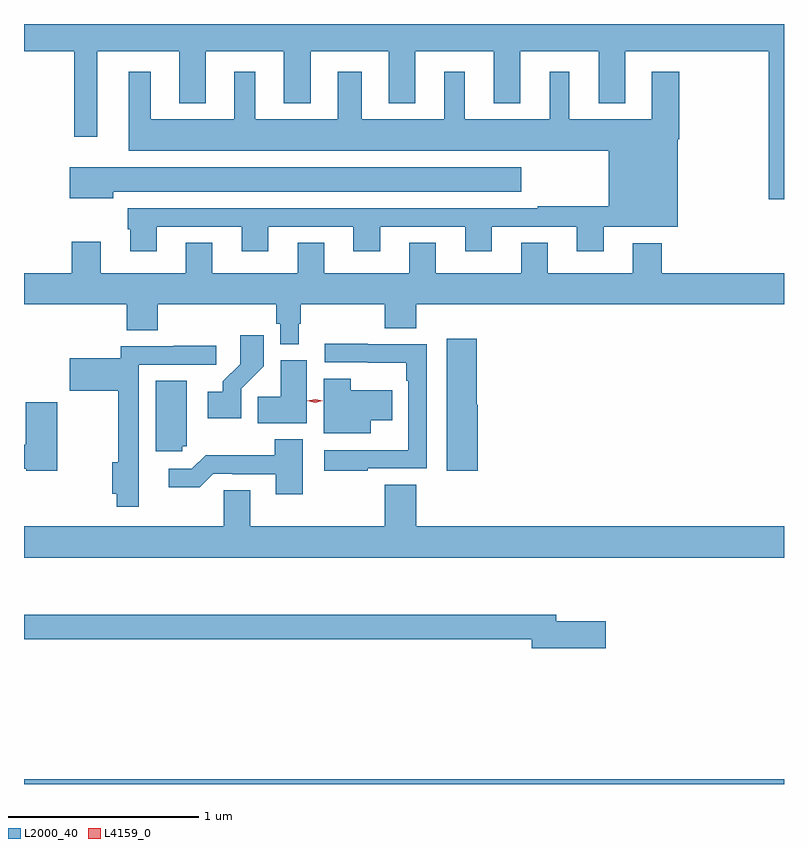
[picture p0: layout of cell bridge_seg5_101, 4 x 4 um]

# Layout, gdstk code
import gdstk
lib = gdstk.Library(unit=1e-6, precision=1e-09)
def R(c, l, rs):  # rectangles x0, y0, x1, y1
    for r in rs: c.add(gdstk.rectangle(r[:2], r[2:], *l))
def P(c, l, *ps):  # polygons
    for p in ps: c.add(gdstk.Polygon(p, *l))
L2000_40 = (2000, 40)
L4159_0 = (4159, 0)

bridge_seg5_101 = lib.new_cell('bridge_seg5_101')
R(bridge_seg5_101, L2000_40, [(540.293,907.516,544.293,907.54)])
P(bridge_seg5_101, L2000_40, [(540.293,911.372),(540.558,911.372),(540.558,910.923),(540.679,910.923),(540.679,911.372),(541.109,911.372),(541.109,911.099),(541.249,911.099),(541.249,911.372),(541.661,911.372),(541.661,911.099),(541.801,911.099),(541.801,911.372),(542.213,911.372),(542.213,911.099),(542.353,911.099),(542.353,911.372),(542.765,911.372),(542.765,911.099),(542.905,911.099),(542.905,911.372),(543.317,911.372),(543.317,911.099),(543.457,911.099),(543.457,911.372),(544.213,911.372),(544.213,910.593),(544.293,910.593),(544.293,911.516),(540.293,911.516)],
  [(540.991,910.449),(541.439,910.449),(541.439,910.32),(541.579,910.32),(541.579,910.449),(542.027,910.449),(542.027,910.32),(542.167,910.32),(542.167,910.449),(542.615,910.449),(542.615,910.32),(542.755,910.32),(542.755,910.449),(543.203,910.449),(543.203,910.32),(543.343,910.32),(543.343,910.448),(543.733,910.448),(543.733,910.91),(543.741,910.91),(543.741,911.266),(543.596,911.266),(543.596,911.014),(543.163,911.014),(543.163,911.266),(543.059,911.266),(543.059,911.014),(542.614,911.014),(542.614,911.266),(542.504,911.266),(542.504,911.014),(542.071,911.014),(542.071,911.266),(541.943,911.266),(541.943,911.014),(541.51,911.014),(541.51,911.266),(541.4,911.266),(541.4,911.014),(540.961,911.014),(540.961,911.266),(540.845,911.266),(540.845,910.85),(543.371,910.85),(543.371,910.558),(542.998,910.558),(542.998,910.545),(540.839,910.545),(540.839,910.437),(540.851,910.437),(540.851,910.32),(540.991,910.32)],
  [(540.763,910.634),(542.911,910.634),(542.911,910.762),(540.534,910.762),(540.534,910.598),(540.763,910.598)],
  [(541.738,909.939),(541.75,909.939),(541.75,910.04),(542.191,910.04),(542.191,909.916),(542.357,909.916),(542.357,910.04),(544.293,910.04),(544.293,910.204),(543.65,910.204),(543.65,910.363),(543.497,910.363),(543.497,910.204),(543.049,910.204),(543.049,910.364),(542.909,910.364),(542.909,910.204),(542.461,910.204),(542.461,910.364),(542.321,910.364),(542.321,910.204),(541.873,910.204),(541.873,910.364),(541.733,910.364),(541.733,910.204),(541.285,910.204),(541.285,910.364),(541.145,910.364),(541.145,910.204),(540.697,910.204),(540.697,910.369),(540.545,910.369),(540.545,910.204),(540.293,910.204),(540.293,910.04),(540.833,910.04),(540.833,909.904),(540.998,909.904),(540.998,910.04),(541.621,910.04),(541.621,909.939),(541.641,909.939),(541.641,909.83),(541.738,909.83)],
  [(541.437,909.595),(541.556,909.714),(541.556,909.877),(541.431,909.877),(541.431,909.725),(541.34,909.635),(541.34,909.58),(541.26,909.58),(541.26,909.44),(541.437,909.44)],
  [(542.68,909.513),(542.675,909.513),(542.675,909.859),(542.519,909.859),(542.519,909.165),(542.68,909.165)],
  [(542.102,909.177),(542.412,909.177),(542.412,909.831),(542.102,909.831),(542.102,909.833),(541.875,909.833),(541.875,909.735),(542.101,909.735),(542.101,909.734),(542.304,909.734),(542.304,909.638),(542.316,909.638),(542.316,909.274),(542.315,909.274),(542.315,909.273),(541.872,909.273),(541.872,909.165),(542.102,909.165)],
  [(540.898,909.198),(540.897,909.198),(540.897,909.723),(541.306,909.723),(541.306,909.822),(541.081,909.822),(541.081,909.819),(540.801,909.819),(540.801,909.757),(540.534,909.757),(540.534,909.587),(540.789,909.587),(540.789,909.21),(540.757,909.21),(540.757,909.044),(540.781,909.044),(540.781,908.976),(540.898,908.976)],
  [(541.78,909.745),(541.643,909.745),(541.643,909.554),(541.522,909.554),(541.522,909.416),(541.78,909.416)],
  [(542.119,909.431),(542.231,909.431),(542.231,909.589),(542.013,909.589),(542.013,909.65),(541.871,909.65),(541.871,909.362),(542.119,909.362)],
  [(541.125,909.294),(541.15,909.294),(541.15,909.638),(540.986,909.638),(540.986,909.267),(541.125,909.267)],
  [(540.468,909.526),(540.302,909.526),(540.302,909.302),(540.293,909.302),(540.293,909.174),(540.306,909.174),(540.306,909.166),(540.468,909.166)],
  [(541.759,909.331),(541.612,909.331),(541.612,909.247),(541.249,909.247),(541.176,909.174),(541.056,909.174),(541.056,909.077),(541.217,909.077),(541.29,909.15),(541.39,909.15),(541.39,909.147),(541.619,909.147),(541.619,909.042),(541.759,909.042)],
  [(544.293,908.872),(542.357,908.872),(542.357,909.092),(542.191,909.092),(542.191,908.872),(541.483,908.872),(541.483,909.062),(541.344,909.062),(541.344,908.872),(540.293,908.872),(540.293,908.708),(544.293,908.708)],
  [(543.355,908.373),(543.094,908.373),(543.094,908.407),(540.293,908.407),(540.293,908.278),(542.966,908.278),(542.966,908.231),(543.355,908.231)])
P(bridge_seg5_101, L4159_0, [(541.825,909.522),(541.784,909.532),(541.784,909.532),(541.784,909.532),(541.825,909.542),(541.866,909.532),(541.866,909.532),(541.866,909.532)])

lib.write_gds('bridge_seg5_101.gds')
